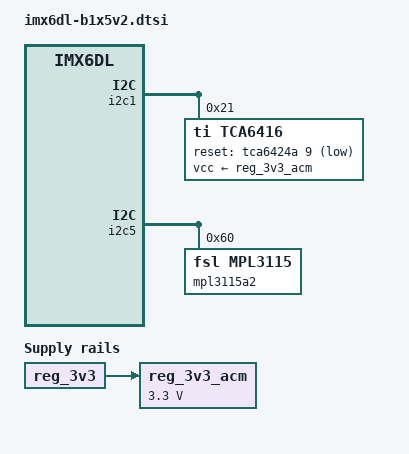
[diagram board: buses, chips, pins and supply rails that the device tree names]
// SPDX-License-Identifier: GPL-2.0 OR MIT
//
// Device Tree Source for General Electric B1x5v2
// patient monitor series
//
// Copyright 2018-2021 General Electric Company
// Copyright 2018-2021 Collabora

#include <dt-bindings/input/input.h>
#include "imx6dl-b1x5pv2.dtsi"

/ {
	reg_3v3_acm: regulator-3v3-acm {
		compatible = "regulator-fixed";
		regulator-name = "3V3 ACM";
		regulator-min-microvolt = <3300000>;
		regulator-max-microvolt = <3300000>;
		regulator-always-on;
		vin-supply = <&reg_3v3>;
	};
};

&i2c1 {
	tca6416: gpio-controller@21 {
		compatible = "ti,tca6416";
		reg = <0x21>;
		gpio-controller;
		#gpio-cells = <2>;
		reset-gpios = <&tca6424a 9 GPIO_ACTIVE_LOW>;
		vcc-supply = <&reg_3v3_acm>;
		gpio-line-names = "ACM1_EN", "ACM1_CL0", "ACM1_CL1", "ACM1_CL2",
				  "", "ACM2_EN", "ACM2_CL0", "ACM2_CL1",
				  "ACM2_CL2", "", "", "",
				  "", "", "", "";

		/*
		 * The interrupt pin is connected to &tca6424a pin 1, but the Linux
		 * TCA6424 driver cannot handle low type interrupts at the moment
		 * (and support cannot be added without some ugly hacks). Since this
		 * controller does not have any input type GPIOs, just pretend
		 * that the interrupt pin is unconnected.
		 */
	};
};

&i2c5 {
	mpl3115a2: pressure-sensor@60 {
		compatible = "fsl,mpl3115";
		reg = <0x60>;

		/*
		 * The MPL3115 interrupts are connected to pin 22 and 23
		 * of &tca6424a, but the binding does not yet support
		 * interrupts.
		 */
	};
};
